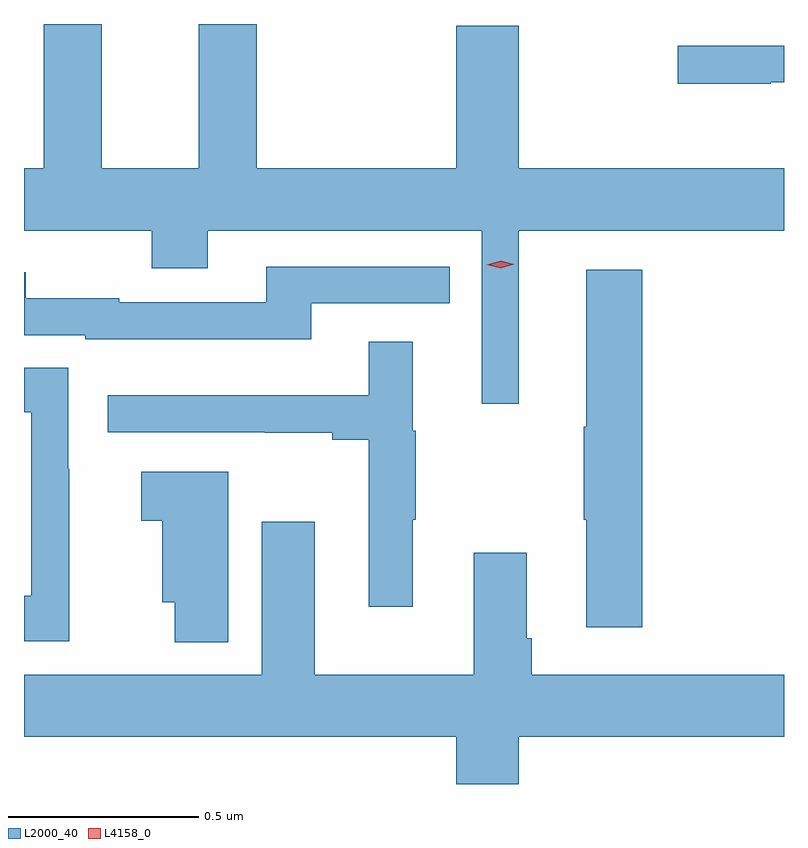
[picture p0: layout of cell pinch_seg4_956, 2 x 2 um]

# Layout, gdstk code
import gdstk
lib = gdstk.Library(unit=1e-6, precision=1e-09)
def P(c, l, *ps):  # polygons
    for p in ps: c.add(gdstk.Polygon(p, *l))
L2000_40 = (2000, 40)
L4158_0 = (4158, 0)

pinch_seg4_956 = lib.new_cell('pinch_seg4_956')
P(pinch_seg4_956, L2000_40, [(644.692,794.156),(645.39,794.156),(645.39,794.32),(644.692,794.32),(644.692,794.695),(644.528,794.695),(644.528,794.32),(644.003,794.32),(644.003,794.7),(643.85,794.7),(643.85,794.32),(643.594,794.32),(643.594,794.7),(643.442,794.7),(643.442,794.32),(643.39,794.32),(643.39,794.156),(643.726,794.156),(643.726,794.057),(643.873,794.057),(643.873,794.156),(644.595,794.156),(644.595,793.701),(644.692,793.701)],
  [(645.355,794.547),(645.39,794.547),(645.39,794.643),(645.111,794.643),(645.111,794.543),(645.355,794.543)],
  [(644.146,793.965),(644.51,793.965),(644.51,794.061),(644.027,794.061),(644.027,793.968),(643.641,793.968),(643.641,793.978),(643.395,793.978),(643.395,794.047),(643.39,794.047),(643.39,793.881),(643.551,793.881),(643.551,793.871),(644.146,793.871)],
  [(645.017,794.053),(644.87,794.053),(644.87,793.64),(644.863,793.64),(644.863,793.396),(644.87,793.396),(644.87,793.113),(645.017,793.113)],
  [(644.413,793.396),(644.421,793.396),(644.421,793.629),(644.413,793.629),(644.413,793.864),(644.297,793.864),(644.297,793.723),(643.611,793.723),(643.611,793.626),(644.023,793.626),(644.023,793.624),(644.201,793.624),(644.201,793.606),(644.297,793.606),(644.297,793.167),(644.413,793.167)],
  [(643.509,793.529),(643.506,793.529),(643.506,793.796),(643.39,793.796),(643.39,793.678),(643.409,793.678),(643.409,793.195),(643.39,793.195),(643.39,793.076),(643.509,793.076)],
  [(643.927,793.522),(643.698,793.522),(643.698,793.393),(643.754,793.393),(643.754,793.178),(643.787,793.178),(643.787,793.073),(643.927,793.073)],
  [(644.692,792.824),(645.39,792.824),(645.39,792.988),(644.726,792.988),(644.726,793.084),(644.713,793.084),(644.713,793.309),(644.573,793.309),(644.573,792.988),(644.155,792.988),(644.155,793.39),(644.015,793.39),(644.015,792.988),(643.39,792.988),(643.39,792.824),(644.528,792.824),(644.528,792.7),(644.692,792.7)])
P(pinch_seg4_956, L4158_0, [(644.644,794.057),(644.608,794.066),(644.608,794.066),(644.608,794.066),(644.644,794.077),(644.68,794.068),(644.68,794.068),(644.68,794.068)])

lib.write_gds('pinch_seg4_956.gds')
